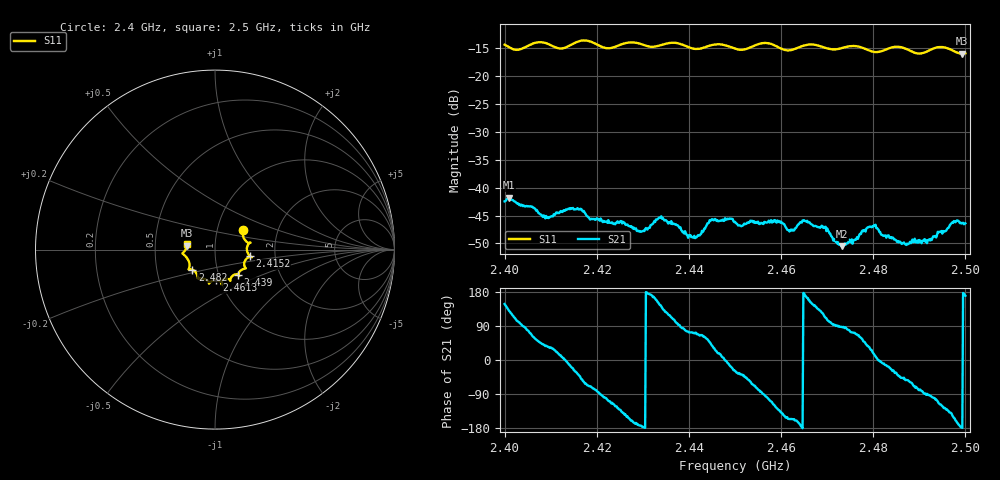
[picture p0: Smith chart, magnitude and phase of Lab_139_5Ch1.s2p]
# Hz S RI R 50
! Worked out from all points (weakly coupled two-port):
!   601 points, 2.4 GHz to 2.5 GHz, reference 50 ohm
!   highest |S21| = -41.77 dB at 2.401 GHz (marker M1); lowest = -50.5 dB at 2.4732 GHz (marker M2)
!   lowest |S11| = -16.0 dB at 2.4993 GHz (marker M3), VSWR 1.38, Z = 36.3 + j1.59 ohm
!   |S11| at or under -10 dB: start of sweep to end of sweep
!   S12 and S22 are empty: the file has one direction only
!   S11 on the Smith chart (normalised r, x): 2.4 GHz: 1.33, +0.31; 2.4152 GHz: 1.48, -0.11; 2.439 GHz: 1.24, -0.36; 2.4613 GHz: 0.96, -0.34; 2.482 GHz: 0.76, -0.17; 2.5 GHz: 0.73, +0.05
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2.4e9  0.1562 0.1113  -0.00638 0.00402  0 0  0 0
2.401e9  0.1547 0.0956  -0.00515 0.00632  0 0  0 0
2.409167e9  0.1934 0.0376  0.0043 0.00321  0 0  0 0
2.415167e9  0.1948 -0.0369  0.00563 -0.00301  0 0  0 0
2.416667e9  0.2042 -0.0427  0.00408 -0.00495  0 0  0 0
2.422333e9  0.1664 -0.0637  -0.00126 -0.00467  0 0  0 0
2.429167e9  0.1664 -0.1053  -0.00402 -0.000555  0 0  0 0
2.433333e9  0.1324 -0.1324  -0.00466 0.00252  0 0  0 0
2.439e9  0.1281 -0.139  0.000594 0.00383  0 0  0 0
2.441833e9  0.1001 -0.1444  0.00132 0.00344  0 0  0 0
2.445333e9  0.0841 -0.1722  0.00432 0.00271  0 0  0 0
2.45e9  0.0684 -0.1632  0.00432 -0.00239  0 0  0 0
2.456667e9  0.0395 -0.1949  -0.000538 -0.00485  0 0  0 0
2.461333e9  0.00726 -0.1705  -0.00367 -0.00205  0 0  0 0
2.466667e9  -0.0332 -0.1899  -0.00401 0.00241  0 0  0 0
2.473167e9  -0.0791 -0.1606  0.000141 0.00299  0 0  0 0
2.48e9  -0.1073 -0.1264  0.00426 0.0014  0 0  0 0
2.482e9  -0.1264 -0.1119  0.00372 -0.000554  0 0  0 0
2.483333e9  -0.1395 -0.1098  0.00357 -0.00111  0 0  0 0
2.491833e9  -0.1638 -0.0375  -5.32e-05 -0.00338  0 0  0 0
2.499333e9  -0.1578 0.0214  -0.00481 -7.25e-05  0 0  0 0
2.5e9  -0.1573 0.0336  -0.00471 0.000869  0 0  0 0
